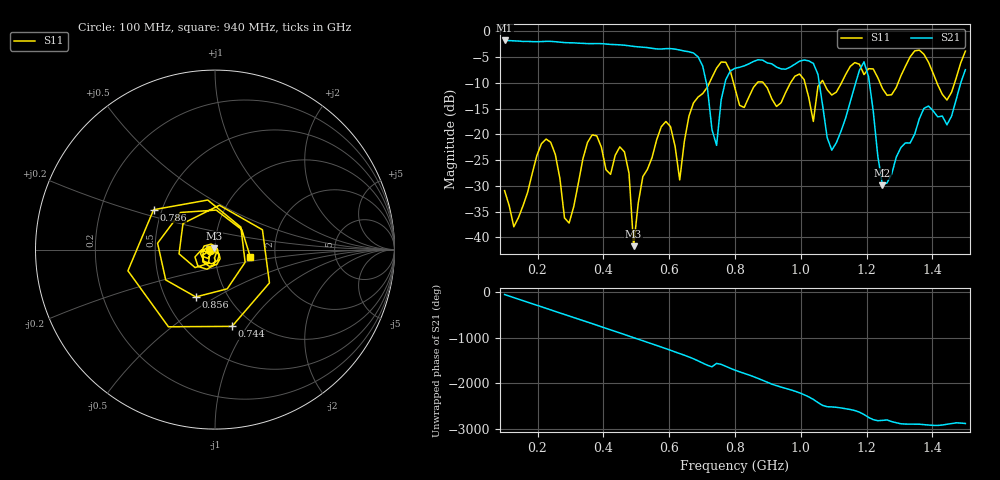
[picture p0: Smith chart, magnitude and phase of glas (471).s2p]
! NanoVNA-App
! Date: 2025-09-25 15:59:08
! Start: 100MHz Stop: 1,5GHz Points: 101
! S-Parameter data: F S11 S21 S12 S22
# Hz S RI R 50
!  Frequency  S11_Real  S11_Imag  S21_Real  S21_Imag  S12_Real  S12_Imag  S22_Real  S22_Imag
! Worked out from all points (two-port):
!   101 points, 100 MHz to 1.5 GHz, reference 50 ohm
!   highest |S21| = -1.80 dB at 100 MHz (marker M1); lowest = -29.9 dB at 1.248 GHz (marker M2)
!   |S21| within 3 dB of the highest: start of sweep to 684.4 MHz
!   lowest |S11| = -41.7 dB at 492 MHz (marker M3), VSWR 1.02, Z = 49.5 + j0.627 ohm
!   |S11| at or under -10 dB: start of sweep to 722.4 MHz; 795.4 MHz to 867.8 MHz (72.45 MHz wide, 8.71 % of centre); 885.9 MHz to 968.8 MHz (82.94 MHz wide, 8.94 % of centre) (the widest 3 of 7)
!   S12 and S22 are empty: the file has one direction only
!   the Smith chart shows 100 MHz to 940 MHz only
!   S11 on the Smith chart (normalised r, x): 100 MHz: 0.95, -0.01; 744 MHz: 0.81, -0.85; 786 MHz: 0.45, +0.24; 856 MHz: 0.71, -0.41; 940 MHz: 1.48, -0.13
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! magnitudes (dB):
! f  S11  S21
! 100 MHz  -30.9  -1.8
! 128 MHz  -37.9  -1.9
! 226 MHz  -20.9  -2.0
! 296 MHz  -37.2  -2.2
! 338 MHz  -24.7  -2.4
! 464 MHz  -23.4  -2.7
! 492 MHz  -41.7  -3.0
! 576 MHz  -18.5  -3.5
! 632 MHz  -28.8  -3.7
! 702 MHz  -12.1  -6.8
! 744 MHz  -7.2  -22.1
! 786 MHz  -7.8  -7.7
! 800 MHz  -11.1  -7.2
! 856 MHz  -10.9  -5.9
! 940 MHz  -13.9  -7.3
! 996 MHz  -8.3  -5.8
! 1.038 GHz  -17.5  -6.2
! 1.094 GHz  -12.4  -23.1
! 1.192 GHz  -8.4  -6.0
! 1.248 GHz  -11.1  -29.9
! 1.276 GHz  -12.3  -27.7
! 1.5 GHz  -3.9  -7.5
